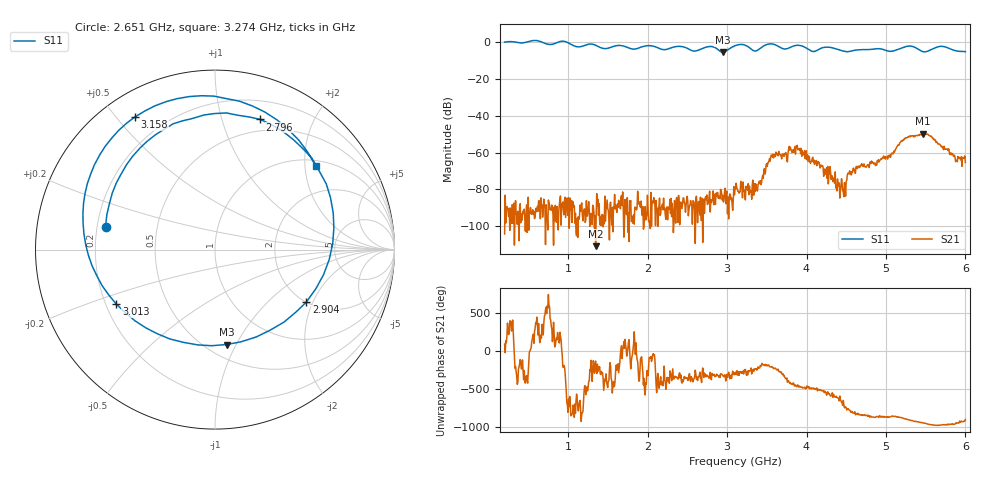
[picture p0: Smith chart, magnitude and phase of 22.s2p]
! NanoVNA-App
! Date: 2024-06-25 16:11:29
! Start: 200MHz Stop: 6GHz Points: 801
! S-Parameter data: F S11 S21 S12 S22
# Hz S RI R 50
!  Frequency  S11_Real  S11_Imag  S21_Real  S21_Imag  S12_Real  S12_Imag  S22_Real  S22_Imag
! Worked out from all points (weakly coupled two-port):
!   801 points, 200 MHz to 6 GHz, reference 50 ohm
!   highest |S21| = -49.69 dB at 5.463 GHz (marker M1); lowest = -110.8 dB at 1.345 GHz (marker M2)
!   lowest |S11| = -5.5 dB at 2.948 GHz (marker M3), VSWR 3.28, Z = 31 - j45.8 ohm
!   |S11| at or under -10 dB: nowhere
!   S12 and S22 are empty: the file has one direction only
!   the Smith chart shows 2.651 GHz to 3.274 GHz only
!   S11 on the Smith chart (normalised r, x): 2.651 GHz: 0.23, +0.10; 2.796 GHz: 0.38, +1.34; 2.904 GHz: 2.00, -1.79; 3.013 GHz: 0.24, -0.24; 3.158 GHz: 0.10, +0.56; 3.274 GHz: 1.14, +2.28
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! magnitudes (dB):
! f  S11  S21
! 200 MHz  0.0  -104.2
! 1.171 GHz  -2.3  -87.3
! 1.345 GHz  -1.7  -110.8
! 2.136 GHz  -3.1  -90.8
! 2.651 GHz  -4.1  -90.3
! 2.796 GHz  -2.3  -85.5
! 2.904 GHz  -4.6  -84.6
! 2.948 GHz  -5.5  -83.3
! 3.013 GHz  -4.0  -84.1
! 3.1 GHz  -1.9  -80.0
! 3.158 GHz  -1.3  -81.6
! 3.274 GHz  -2.7  -82.8
! 3.405 GHz  -3.8  -75.6
! 3.593 GHz  -1.2  -61.0
! 3.897 GHz  -1.7  -58.0
! 4.072 GHz  -5.0  -63.2
! 4.441 GHz  -4.6  -74.2
! 4.652 GHz  -4.2  -67.4
! 5.036 GHz  -4.9  -62.1
! 5.224 GHz  -2.8  -53.1
! 5.463 GHz  -5.1  -49.7
! 6 GHz  -5.1  -65.4
